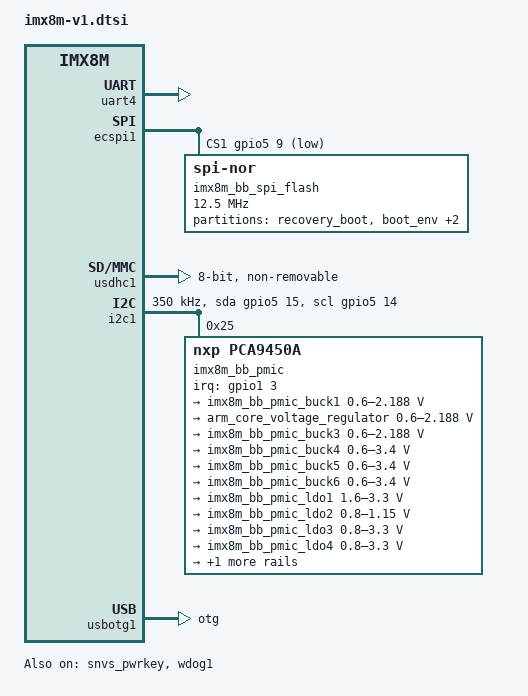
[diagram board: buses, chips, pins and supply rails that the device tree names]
// SPDX-License-Identifier: (GPL-2.0 OR MIT)
//
// Copyright (C) 2022 Prodrive Technologies

/*
 * Building block definitions which are applicable to all variants of the i.MX8M building blocks.
 */

/ {
	chosen {
		stdout-path = &uart4;
	};

	aliases {
		rtc1 = &snvs_rtc;
		/*
		 * When U-Boot environment variable 'ethaddr' is set, the MAC address from the i.MX eFuses gets overwritten.
		 * 'ethaddr' is a magic environment variable in U-Boot and related to the ethernet alias described in the device tree.
		 * By deleting the ethernet alias property, the MAC address cannot be spoofed by setting the 'ethaddr' variable.
		 * Allow setting MAC address values by U-Boot by adding the ethernet alias to the product device tree.
		 */
		/delete-property/ ethernet0;
	};
};

&A53_0 {
	cpu-supply = <&arm_core_voltage_regulator>;
};

&snvs_pwrkey {
	status = "okay";
};

/*
	The following definitions list the parts and interfaces which are placed on the building block itself.
	These parts and interfaces are enabled by default, as they are always available and used.
*/
imx8m_bb_uart_debug: &uart4 { /* Debug UART */
	pinctrl-names = "default";
	pinctrl-0 = <&imx8m_pinctrl_uart4>;
	status = "okay";
};

imx8m_bb_watchdog: &wdog1 {
	pinctrl-names = "default";
	//TODO: pinctrl for WDOG <-> PMIC triggering
	status = "okay";
	timeout-sec = <120>;
};

/* boot flash */
imx8m_bb_ecspi1: &ecspi1 {
	#address-cells = <1>;
	#size-cells = <0>;
	pinctrl-names = "default";
	pinctrl-0 = <&imx8m_pinctrl_ecspi1>;
	num-cs = <2>;
	cs-gpios =<0
		&gpio5 9 GPIO_ACTIVE_LOW>;
	status = "okay";

	imx8m_bb_spi_flash: flash@1 {
		reg = <1>;
		compatible = "jedec,spi-nor";
		spi-max-frequency = <12500000>;
		#address-cells = <1>;
		#size-cells = <1>;
		partition@0x00000000 {
			label = "recovery_boot";
			reg = <0x00000000 0x00400000>;
		};
		partition@0x00400000 {
			label = "boot_env";
			reg = <0x00400000 0x00020000>;
		};
		partition@0x00420000 {
			label = "factory_data";
			reg = <0x00420000 0x00020000>;
			read-only;
		};
		partition@0x00440000 {
			label = "customer_data";
			reg = <0x00440000 0x003C0000>;
		};
	};
};

/* eMMC */
imx8m_bb_emmc: &usdhc1 {
	pinctrl-names = "default";
	pinctrl-0 = <&imx8m_pinctrl_usdhc1>;
	bus-width = <8>;
	non-removable;
	status = "okay";
	mmc-hs200-1_8v;
	mmc-hs400-1_8v;
	max-frequency = <200000000>;
};

imx8m_bb_i2c1: &i2c1 {
	clock-frequency = <350000>;
	pinctrl-names = "default";
	pinctrl-0 = <&imx8m_pinctrl_i2c1>;
	pinctrl-1 = <&imx8m_pinctrl_i2c1_gpio>;
	scl-gpios = <&gpio5 14 GPIO_ACTIVE_HIGH>;
	sda-gpios = <&gpio5 15 GPIO_ACTIVE_HIGH>;
	status = "okay";

	imx8m_bb_pmic: pca9450@25 {
		reg = <0x25>;
		compatible = "nxp,pca9450a";
		/* PMIC PCA9450 PMIC_nINT GPIO1_IO3 */
		pinctrl-0 = <&imx8m_pinctrl_pmic>;
		interrupt-parent = <&gpio1>;
		interrupts = <3 IRQ_TYPE_LEVEL_LOW>;

		regulators {
			imx8m_bb_pmic_buck1: buck1 {
				regulator-name = "buck1";
				regulator-min-microvolt = <600000>;
				regulator-max-microvolt = <2187500>;
				regulator-boot-on;
				regulator-always-on;
				regulator-ramp-delay = <3125>;
				nxp,dvs-run-voltage = <850000>;
				nxp,dvs-standby-voltage = <800000>;
			};

			arm_core_voltage_regulator: buck2 {
				regulator-compatible = "buck2";
				regulator-min-microvolt = <600000>;
				regulator-max-microvolt = <2187500>;
				regulator-boot-on;
				regulator-always-on;
				regulator-ramp-delay = <3125>;
			};

			imx8m_bb_pmic_buck3: buck3 {
				regulator-compatible = "buck3";
				regulator-min-microvolt = <600000>;
				regulator-max-microvolt = <2187500>;
				regulator-boot-on;
				regulator-always-on;
			};

			imx8m_bb_pmic_buck4: buck4 {
				regulator-compatible = "buck4";
				regulator-min-microvolt = <600000>;
				regulator-max-microvolt = <3400000>;
				regulator-boot-on;
				regulator-always-on;
			};

			imx8m_bb_pmic_buck5: buck5 {
				regulator-compatible = "buck5";
				regulator-min-microvolt = <600000>;
				regulator-max-microvolt = <3400000>;
				regulator-boot-on;
				regulator-always-on;
			};

			imx8m_bb_pmic_buck6: buck6 {
				regulator-compatible = "buck6";
				regulator-min-microvolt = <600000>;
				regulator-max-microvolt = <3400000>;
				regulator-boot-on;
				regulator-always-on;
			};

			imx8m_bb_pmic_ldo1: ldo1 {
				regulator-compatible = "ldo1";
				regulator-min-microvolt = <1600000>;
				regulator-max-microvolt = <3300000>;
				regulator-boot-on;
				regulator-always-on;
			};

			imx8m_bb_pmic_ldo2: ldo2 {
				regulator-compatible = "ldo2";
				regulator-min-microvolt = <800000>;
				regulator-max-microvolt = <1150000>;
				regulator-boot-on;
				regulator-always-on;
			};

			imx8m_bb_pmic_ldo3: ldo3 {
				regulator-compatible = "ldo3";
				regulator-min-microvolt = <800000>;
				regulator-max-microvolt = <3300000>;
				regulator-boot-on;
				regulator-always-on;
			};

			imx8m_bb_pmic_ldo4: ldo4 {
				regulator-compatible = "ldo4";
				regulator-min-microvolt = <800000>;
				regulator-max-microvolt = <3300000>;
				regulator-boot-on;
				regulator-always-on;
			};

			imx8m_bb_pmic_ldo5: ldo5 {
				regulator-compatible = "ldo5";
				regulator-min-microvolt = <1800000>;
				regulator-max-microvolt = <3300000>;
			};
		};
	};
};

/* USB is enabled by default for production and debugging purposes. */
/* USB is always available on the building block. */
imx8m_bb_usbotg1: &usbotg1 {
	dr_mode = "otg";
	status = "okay";
	hnp-disable;
	srp-disable;
	adp-disable;
};
